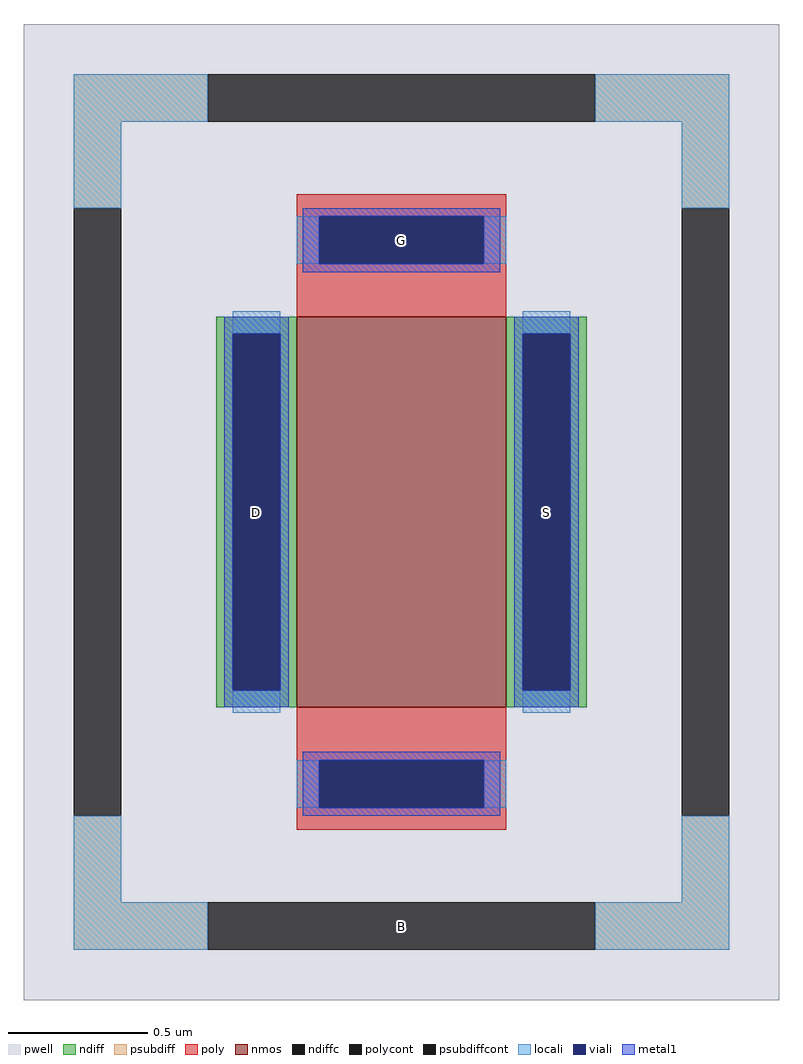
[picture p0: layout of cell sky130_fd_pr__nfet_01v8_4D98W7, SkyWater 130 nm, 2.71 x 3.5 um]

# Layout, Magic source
magic
tech sky130A
magscale 1 2
<< pwell >>
rect -271 -350 271 350
<< nmos >>
rect -75 -140 75 140
<< ndiff >>
rect -133 128 -75 140
rect -133 -128 -121 128
rect -87 -128 -75 128
rect -133 -140 -75 -128
rect 75 128 133 140
rect 75 -128 87 128
rect 121 -128 133 128
rect 75 -140 133 -128
<< ndiffc >>
rect -121 -128 -87 128
rect 87 -128 121 128
<< psubdiff >>
rect -235 280 -139 314
rect 139 280 235 314
rect -235 218 -201 280
rect 201 218 235 280
rect -235 -280 -201 -218
rect 201 -280 235 -218
rect -235 -314 -139 -280
rect 139 -314 235 -280
<< psubdiffcont >>
rect -139 280 139 314
rect -235 -218 -201 218
rect 201 -218 235 218
rect -139 -314 139 -280
<< poly >>
rect -75 212 75 228
rect -75 178 -59 212
rect 59 178 75 212
rect -75 140 75 178
rect -75 -178 75 -140
rect -75 -212 -59 -178
rect 59 -212 75 -178
rect -75 -228 75 -212
<< polycont >>
rect -59 178 59 212
rect -59 -212 59 -178
<< locali >>
rect -235 280 -139 314
rect 139 280 235 314
rect -235 218 -201 280
rect 201 218 235 280
rect -75 178 -59 212
rect 59 178 75 212
rect -121 128 -87 144
rect -121 -144 -87 -128
rect 87 128 121 144
rect 87 -144 121 -128
rect -75 -212 -59 -178
rect 59 -212 75 -178
rect -235 -280 -201 -218
rect 201 -280 235 -218
rect -235 -314 -139 -280
rect 139 -314 235 -280
<< viali >>
rect -59 178 59 212
rect -121 -128 -87 128
rect 87 -128 121 128
rect -59 -212 59 -178
<< metal1 >>
rect -71 212 71 218
rect -71 178 -59 212
rect 59 178 71 212
rect -71 172 71 178
rect -127 128 -81 140
rect -127 -128 -121 128
rect -87 -128 -81 128
rect -127 -140 -81 -128
rect 81 128 127 140
rect 81 -128 87 128
rect 121 -128 127 128
rect 81 -140 127 -128
rect -71 -178 71 -172
rect -71 -212 -59 -178
rect 59 -212 71 -178
rect -71 -218 71 -212
<< labels >>
rlabel psubdiffcont 0 -297 0 -297 0 B
port 1 nsew
rlabel ndiffc -104 0 -104 0 0 D
port 2 nsew
rlabel ndiffc 104 0 104 0 0 S
port 3 nsew
rlabel polycont 0 195 0 195 0 G
port 4 nsew
<< properties >>
string FIXED_BBOX -218 -297 218 297
string gencell sky130_fd_pr__nfet_01v8
string library sky130
string parameters w 1.4 l 0.75 m 1 nf 1 diffcov 100 polycov 100 guard 1 glc 1 grc 1 gtc 1 gbc 1 tbcov 100 rlcov 100 topc 1 botc 1 poverlap 0 doverlap 1 lmin 0.15 wmin 0.42 class mosfet compatible {sky130_fd_pr__nfet_01v8 sky130_fd_pr__nfet_01v8_lvt  sky130_fd_bs_flash__special_sonosfet_star  sky130_fd_pr__nfet_g5v0d10v5 sky130_fd_pr__nfet_05v0_nvt  sky130_fd_pr__nfet_03v3_nvt} full_metal 1 viasrc 100 viadrn 100 viagate 100 viagb 0 viagr 0 viagl 0 viagt 0 doports 1
<< end >>
